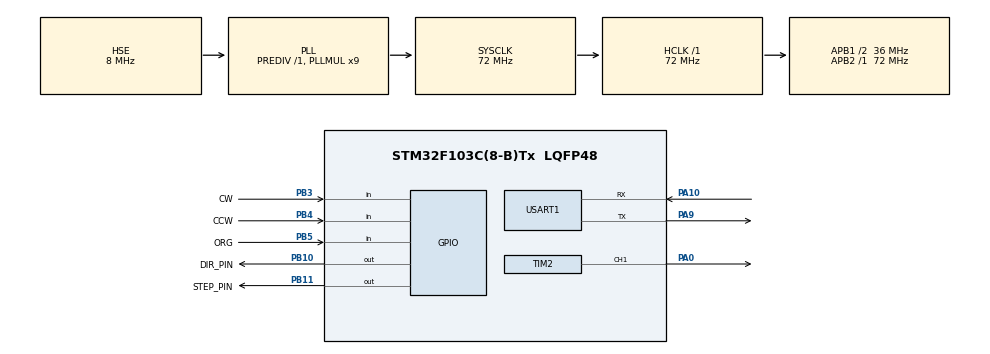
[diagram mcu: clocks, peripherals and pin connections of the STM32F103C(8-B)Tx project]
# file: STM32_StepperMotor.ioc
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Mcu.Family=STM32F1
Mcu.Name=STM32F103C(8-B)Tx
Mcu.Package=LQFP48
NVIC.PriorityGroup=NVIC_PRIORITYGROUP_4
NVIC.USART1_IRQn=true\:0\:0\:false\:false\:true\:true\:true\:true
PA0-WKUP.Signal=S_TIM2_CH1_ETR
PA10.Mode=Asynchronous
PA10.Signal=USART1_RX
PA13.Mode=Serial_Wire
PA13.Signal=SYS_JTMS-SWDIO
PA14.Mode=Serial_Wire
PA14.Signal=SYS_JTCK-SWCLK
PA9.Mode=Asynchronous
PA9.Signal=USART1_TX
PB10.GPIO_Label=DIR_PIN
PB10.GPIO_Speed=GPIO_SPEED_FREQ_HIGH
PB10.Signal=GPIO_Output
PB11.GPIO_Label=STEP_PIN
PB11.GPIO_Speed=GPIO_SPEED_FREQ_HIGH
PB11.Signal=GPIO_Output
PB3.GPIO_Label=CW
PB3.GPIO_PuPd=GPIO_PULLDOWN
PB3.Signal=GPIO_Input
PB4.GPIO_Label=CCW
PB4.GPIO_PuPd=GPIO_PULLDOWN
PB4.Signal=GPIO_Input
PB5.GPIO_Label=ORG
PB5.GPIO_PuPd=GPIO_PULLDOWN
PB5.Signal=GPIO_Input
PD0-OSC_IN.Mode=HSE-External-Oscillator
PD0-OSC_IN.Signal=RCC_OSC_IN
PD1-OSC_OUT.Mode=HSE-External-Oscillator
PD1-OSC_OUT.Signal=RCC_OSC_OUT
ProjectManager.HeapSize=0x200
ProjectManager.StackSize=0x400
ProjectManager.TargetToolchain=MDK-ARM V5.32
RCC.AHBFreq_Value=72000000
RCC.APB1CLKDivider=RCC_HCLK_DIV2
RCC.APB1Freq_Value=36000000
RCC.APB1TimFreq_Value=72000000
RCC.APB2Freq_Value=72000000
RCC.APB2TimFreq_Value=72000000
RCC.HCLKFreq_Value=72000000
RCC.PLLMUL=RCC_PLL_MUL9
RCC.PLLSourceVirtual=RCC_PLLSOURCE_HSE
RCC.SYSCLKFreq_VALUE=72000000
RCC.SYSCLKSource=RCC_SYSCLKSOURCE_PLLCLK
RCC.USBFreq_Value=72000000
SH.S_TIM2_CH1_ETR.0=TIM2_CH1,PWM Generation1 CH1
TIM2.AutoReloadPreload=TIM_AUTORELOAD_PRELOAD_ENABLE
TIM2.Channel-PWM\ Generation1\ CH1=TIM_CHANNEL_1
TIM2.Period=9999
TIM2.Prescaler=12-1
USART1.VirtualMode=VM_ASYNC
VP_TIM2_VS_ClockSourceINT.Mode=Internal
board=custom

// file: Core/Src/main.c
/* USER CODE BEGIN Header */
/**
  ******************************************************************************
  * @file           : main.c
  * @brief          : Main program body
  ******************************************************************************
  * @attention
  *
  * Copyright (c) 2026 STMicroelectronics
  *
  ******************************************************************************
  */
/* USER CODE END Header */
#include "main.h"
#include "tim.h"
#include "usart.h"
#include "gpio.h"

/* USER CODE BEGIN Includes */
#include "stepper.h"
#include <stdio.h>
#include <string.h>
/* USER CODE END Includes */

/* USER CODE BEGIN PD */
// Speed presets: half-period delay (smaller = faster)
#define DEFAULT_HALF_T_LOW   500
#define DEFAULT_HALF_T_MID   250
#define DEFAULT_HALF_T_HIGH  180

#define UART_BUF_SIZE 64

// Limit debounce filter count
#define LIMIT_FILTER_COUNT  3

// Limit pins (use CubeMX-generated names internally, A/B aliases for clarity)
#define LIMIT_A_PIN   CW_Pin
#define LIMIT_A_PORT  CW_GPIO_Port
#define LIMIT_B_PIN   CCW_Pin
#define LIMIT_B_PORT  CCW_GPIO_Port
#define LIMIT_ORG_PIN  ORG_Pin
#define LIMIT_ORG_PORT ORG_GPIO_Port
/* USER CODE END PD */

uint8_t  uart_buf[UART_BUF_SIZE];
uint16_t uart_buf_head = 0;
uint16_t uart_buf_tail = 0;

/* USER CODE BEGIN PV */
uint8_t  motor_speed = 1;          // 1=slow 2=mid 3=fast
uint8_t  motor_dir   = 0;          // 0=A dir, 1=B dir
uint32_t motor_steps = 0;          // Target step count
uint8_t  cmd_ready   = 0;          // Command ready flag
uint8_t  motor_busy  = 0;          // Motor is currently stepping

int32_t motor_position_steps = 0;  // Current position in steps (A+, B-)
uint8_t motor_stop_flag = 0;       // Emergency stop flag

// Direction locks: each direction locked independently
uint8_t limit_a_locked = 0;        // A-direction locked (A limit triggered)
uint8_t limit_b_locked = 0;        // B-direction locked (B limit triggered)

// Limit debounce state
uint8_t last_limit_a  = 0;
uint8_t last_limit_b  = 0;
uint8_t last_limit_org = 0;
uint8_t filter_a_cnt  = 0;
uint8_t filter_b_cnt  = 0;
uint8_t filter_org_cnt = 0;
/* USER CODE END PV */

void SystemClock_Config(void);
/* USER CODE BEGIN PFP */
void UART_Parse_Cmd(void);
void UART_PutChar(uint8_t ch);
void UART_PutString(char *str);
void Motor_Emergency_Stop(void);
void Limit_Switch_Check(void);
uint8_t Read_Limit_Stable(GPIO_TypeDef *GPIOx, uint16_t GPIO_Pin);
void System_Reset(void);
/* USER CODE END PFP */

int main(void)
{
  HAL_Init();
  SystemClock_Config();
  MX_GPIO_Init();
  MX_TIM2_Init();
  MX_USART1_UART_Init();
  Step_GPIO_Config();
  __HAL_UART_ENABLE_IT(&huart1, UART_IT_RXNE);

  HAL_Delay(100);
  last_limit_a   = 0;
  last_limit_b   = 0;
  last_limit_org = 0;
  motor_position_steps = 0;

  UART_PutString("\r\n========================================\r\n");
  UART_PutString(" Stepper Motor Control System V9\r\n");
  UART_PutString(" 6400 pulse/rev, 1mm lead\r\n");
  UART_PutString("========================================\r\n");
  UART_PutString(" Commands:\r\n");
  UART_PutString("  1) 3-digit: <Speed1-3><Dir0-1><Turn1-2>\r\n");
  UART_PutString("     0=A-dir  1=B-dir\r\n");
  UART_PutString("     ex: 201=Mid_A_Full  321=Fast_B_Half\r\n");
  UART_PutString("  2) Micron: A<dist> or B<dist>\r\n");
  UART_PutString("     ex: A100=A+100um  B1000=B+1000um\r\n");
  UART_PutString("  3) Reset: send R to clear locks\r\n");
  UART_PutString("  4) Query: send ? to show position\r\n");
  UART_PutString("========================================\r\n");
  UART_PutString("> ");

  while (1)
  {
    UART_Parse_Cmd();
    Limit_Switch_Check();
    HAL_Delay(10);

    if (cmd_ready)
    {
      // Direction lock: A-dir(0) blocked by A-limit, B-dir(1) blocked by B-limit
      if ((motor_dir == 0 && limit_a_locked) ||
          (motor_dir == 1 && limit_b_locked))
      {
        UART_PutString("Blocked: limit active, reverse dir only\r\n> ");
        cmd_ready = 0;
        continue;
      }

      motor_stop_flag = 0;
      motor_busy = 1;
      cmd_ready = 0;
      Set_Direction(motor_dir);

      uint32_t delay = DEFAULT_HALF_T_LOW;
      if (motor_speed == 2)      delay = DEFAULT_HALF_T_MID;
      else if (motor_speed == 3) delay = DEFAULT_HALF_T_HIGH;

      Step(motor_steps, delay);
      motor_busy = 0;

      if (!motor_stop_flag)
      {
        if (motor_dir == 0)
          motor_position_steps += (int32_t)motor_steps;
        else
          motor_position_steps -= (int32_t)motor_steps;
      }

      // Display current position (0.1um precision)
      int32_t pos_0p1um = STEPS_TO_0P1UM(motor_position_steps);
      char sign = '+';
      int32_t abs_val = pos_0p1um;
      if (abs_val < 0) { sign = '-'; abs_val = -abs_val; }

      char disp_buf[48];
      sprintf(disp_buf, "Done  Pos: %c%ld.%ld um\r\n> ",
              sign, (long)(abs_val / 10), (long)(abs_val % 10));
      UART_PutString(disp_buf);
    }
  }
}

void SystemClock_Config(void)
{
  RCC_OscInitTypeDef RCC_OscInitStruct = {0};
  RCC_ClkInitTypeDef RCC_ClkInitStruct = {0};

  RCC_OscInitStruct.OscillatorType = RCC_OSCILLATORTYPE_HSE;
  RCC_OscInitStruct.HSEState = RCC_HSE_ON;
  RCC_OscInitStruct.HSEPredivValue = RCC_HSE_PREDIV_DIV1;
  RCC_OscInitStruct.HSIState = RCC_HSI_ON;
  RCC_OscInitStruct.PLL.PLLState = RCC_PLL_ON;
  RCC_OscInitStruct.PLL.PLLSource = RCC_PLLSOURCE_HSE;
  RCC_OscInitStruct.PLL.PLLMUL = RCC_PLL_MUL9;
  if (HAL_RCC_OscConfig(&RCC_OscInitStruct) != HAL_OK)
  {
    Error_Handler();
  }

  RCC_ClkInitStruct.ClockType = RCC_CLOCKTYPE_HCLK | RCC_CLOCKTYPE_SYSCLK
                              | RCC_CLOCKTYPE_PCLK1 | RCC_CLOCKTYPE_PCLK2;
  RCC_ClkInitStruct.SYSCLKSource = RCC_SYSCLKSOURCE_PLLCLK;
  RCC_ClkInitStruct.AHBCLKDivider = RCC_SYSCLK_DIV1;
  RCC_ClkInitStruct.APB1CLKDivider = RCC_HCLK_DIV2;
  RCC_ClkInitStruct.APB2CLKDivider = RCC_HCLK_DIV1;

  if (HAL_RCC_ClockConfig(&RCC_ClkInitStruct, FLASH_LATENCY_2) != HAL_OK)
  {
    Error_Handler();
  }
}

/* USER CODE BEGIN 4 */

// Software reset: clear alarm state without clearing direction locks.
// Direction locks auto-clear when sensors release in Limit_Switch_Check().
void System_Reset(void)
{
  motor_stop_flag  = 0;
  // Keep limit_a_locked / limit_b_locked — they auto-clear on sensor release
  last_limit_a     = 0;
  last_limit_b     = 0;
  filter_a_cnt     = 0;
  filter_b_cnt     = 0;
  cmd_ready        = 0;
  UART_PutString("System: alarm reset, reverse dir available\r\n> ");
}

// Double-read for stable level (2ms interval debounce)
uint8_t Read_Limit_Stable(GPIO_TypeDef *GPIOx, uint16_t GPIO_Pin)
{
  uint8_t level1 = HAL_GPIO_ReadPin(GPIOx, GPIO_Pin);
  HAL_Delay(2);
  uint8_t level2 = HAL_GPIO_ReadPin(GPIOx, GPIO_Pin);
  return (level1 == level2) ? level1 : 0;
}

void UART_PutChar(uint8_t ch)
{
  HAL_UART_Transmit(&huart1, &ch, 1, 10);
}

void UART_PutString(char *str)
{
  if (str == NULL) return;
  uint16_t len = strlen(str);
  HAL_UART_Transmit(&huart1, (uint8_t *)str, len, 100);
}

// Parse micron digits after A/B prefix has been consumed.
// On entry, uart_buf_tail points to first digit.
static void parse_micron_value(uint8_t dir)
{
  uint16_t data_len = (uart_buf_head - uart_buf_tail + UART_BUF_SIZE) % UART_BUF_SIZE;
  if (data_len == 0) return;

  uint32_t value = 0;
  uint8_t  digit_count = 0;
  uint16_t idx = uart_buf_tail;

  while (idx != uart_buf_head && digit_count < 10)
  {
    uint8_t ch = uart_buf[idx];
    if (ch >= '0' && ch <= '9')
    {
      value = value * 10 + (ch - '0');
      digit_count++;
      idx = (idx + 1) % UART_BUF_SIZE;
    }
    else if (ch == '\r' || ch == '\n')
    {
      idx = (idx + 1) % UART_BUF_SIZE;
      break;
    }
    else
    {
      uart_buf_head = uart_buf_tail = 0;
      UART_PutString("Error: invalid command\r\n> ");
      return;
    }
  }

  if (digit_count > 0 && value > 0 && value <= 15000)
  {
    motor_speed = 2;  // micron commands default: mid speed
    motor_dir   = dir;
    motor_steps = UM_TO_STEPS(value);
    if (motor_steps == 0) motor_steps = 1;
    cmd_ready = 1;
    uart_buf_tail = idx;

    char info[64];
    sprintf(info, "%s move %lu um (%lu steps)\r\n",
            (dir == 0) ? "A" : "B",
            (unsigned long)value, (unsigned long)motor_steps);
    UART_PutString(info);
  }
  else
  {
    uart_buf_head = uart_buf_tail = 0;
    UART_PutString("Error: invalid distance (1~15000um)\r\n> ");
  }
}

// UART command parser: 3-digit / A/B micron / R reset / ? query
void UART_Parse_Cmd(void)
{
  uint16_t data_len = (uart_buf_head - uart_buf_tail + UART_BUF_SIZE) % UART_BUF_SIZE;
  if (data_len == 0) return;

  uint8_t cmd = uart_buf[uart_buf_tail];

  // Ignore CR/LF
  if (cmd == '\r' || cmd == '\n')
  {
    uart_buf_tail = (uart_buf_tail + 1) % UART_BUF_SIZE;
    return;
  }

  // ?: query position
  if (cmd == '?')
  {
    int32_t pos_0p1um = STEPS_TO_0P1UM(motor_position_steps);
    char sign = '+';
    int32_t abs_val = pos_0p1um;
    if (abs_val < 0) { sign = '-'; abs_val = -abs_val; }
    char buf[48];
    sprintf(buf, "Pos: %c%ld.%ld um\r\n> ",
            sign, (long)(abs_val / 10), (long)(abs_val % 10));
    UART_PutString(buf);
    uart_buf_tail = (uart_buf_tail + 1) % UART_BUF_SIZE;
    return;
  }

  // R/r standalone = reset
  if (cmd == 'R' || cmd == 'r')
  {
    uint16_t next_idx = (uart_buf_tail + 1) % UART_BUF_SIZE;

    // Only 'R' in buffer, wait for follow-up char
    if (next_idx == uart_buf_head)
      return;

    uint8_t next_ch = uart_buf[next_idx];

    // Standalone R with CR/LF or end-of-buffer -> reset
    if (next_ch == '\r' || next_ch == '\n')
    {
      System_Reset();
      uart_buf_tail = (uart_buf_tail + 1) % UART_BUF_SIZE;
      return;
    }

    // R followed by anything else -> error (B-micron uses 'B' prefix now)
    uart_buf_head = uart_buf_tail = 0;
    UART_PutString("Error: use 'B<dist>' for B-micron, 'R' alone for reset\r\n> ");
    return;
  }

  // A/a: A-direction micron command
  if (cmd == 'A' || cmd == 'a')
  {
    uart_buf_tail = (uart_buf_tail + 1) % UART_BUF_SIZE; // consume 'A'

    data_len = (uart_buf_head - uart_buf_tail + UART_BUF_SIZE) % UART_BUF_SIZE;
    if (data_len == 0) return;

    uint8_t first_digit = uart_buf[uart_buf_tail];
    if (!(first_digit >= '0' && first_digit <= '9'))
    {
      uart_buf_head = uart_buf_tail = 0;
      UART_PutString("Error: A requires a number, ex: A100\r\n> ");
      return;
    }
    parse_micron_value(0);  // dir=0 (A)
    return;
  }

  // B/b: B-direction micron command
  if (cmd == 'B' || cmd == 'b')
  {
    uart_buf_tail = (uart_buf_tail + 1) % UART_BUF_SIZE; // consume 'B'

    data_len = (uart_buf_head - uart_buf_tail + UART_BUF_SIZE) % UART_BUF_SIZE;
    if (data_len == 0) return;

    uint8_t first_digit = uart_buf[uart_buf_tail];
    if (!(first_digit >= '0' && first_digit <= '9'))
    {
      uart_buf_head = uart_buf_tail = 0;
      UART_PutString("Error: B requires a number, ex: B1000\r\n> ");
      return;
    }
    parse_micron_value(1);  // dir=1 (B)
    return;
  }

  // 3-digit command: <Speed1-3><Dir0-1><Turn1-2>
  if (data_len >= 3)
  {
    uint8_t s = uart_buf[uart_buf_tail];
    uint8_t d = uart_buf[(uart_buf_tail + 1) % UART_BUF_SIZE];
    uint8_t c = uart_buf[(uart_buf_tail + 2) % UART_BUF_SIZE];

    if ((s >= '1' && s <= '3') &&
        (d >= '0' && d <= '1') &&
        (c >= '1' && c <= '2'))
    {
      motor_speed = s - '0';
      motor_dir   = d - '0';
      motor_steps = (c == '1') ? STEPS_PER_CIRCLE : STEPS_PER_HALF_CIRCLE;
      cmd_ready = 1;
      uart_buf_tail = (uart_buf_tail + 3) % UART_BUF_SIZE;

      char info[64];
      sprintf(info, "%s %s %s turn (%lu steps)\r\n",
              (motor_speed == 1) ? "Slow" : (motor_speed == 2) ? "Mid" : "Fast",
              (motor_dir == 0) ? "A" : "B",
              (motor_steps == STEPS_PER_CIRCLE) ? "Full" : "Half",
              (unsigned long)motor_steps);
      UART_PutString(info);
    }
    else
    {
      uart_buf_head = uart_buf_tail = 0;
      UART_PutString("Error: invalid command\r\n> ");
    }
  }
}

void Alarm_Info(char *str)
{
  UART_PutString("ALARM: ");
  UART_PutString(str);
  UART_PutString("\r\n> ");
}

// Emergency stop: pull STEP low, set flag. Direction lock set by caller.
void Motor_Emergency_Stop(void)
{
  HAL_GPIO_WritePin(STEP_GPIO_PORT, STEP_GPIO_PIN, GPIO_PIN_RESET);
  motor_stop_flag = 1;
}

/*
 * Limit switch state machine (debounced, called every 10ms).
 *
 * A-limit (was CW): triggers -> lock A-dir -> stop motor -> alarm
 * B-limit (was CCW): triggers -> lock B-dir -> stop motor -> alarm
 * Origin: info only, no stop, no lock.
 *
 * Direction lock auto-clears when sensor releases (after debounce).
 * Opposite direction always available without needing R.
 * R is only needed if both limits are stuck or for software recovery.
 */
void Limit_Switch_Check(void)
{
  uint8_t a_now   = Read_Limit_Stable(LIMIT_A_PORT, LIMIT_A_PIN);
  uint8_t b_now   = Read_Limit_Stable(LIMIT_B_PORT, LIMIT_B_PIN);
  uint8_t org_now = Read_Limit_Stable(LIMIT_ORG_PORT, LIMIT_ORG_PIN);

  // === A-limit (was CW) ===
  if (a_now == 1 && !limit_a_locked)
  {
    filter_a_cnt++;
    if (filter_a_cnt >= LIMIT_FILTER_COUNT && last_limit_a == 0)
    {
      last_limit_a = 1;
      limit_a_locked = 1;
      Motor_Emergency_Stop();
      Alarm_Info("A-limit triggered, reverse dir (B) available");
    }
  }
  else if (a_now == 0)
  {
    filter_a_cnt = 0;
    last_limit_a = 0;
    limit_a_locked = 0;  // auto-clear when sensor releases
  }

  // === B-limit (was CCW) ===
  if (b_now == 1 && !limit_b_locked)
  {
    filter_b_cnt++;
    if (filter_b_cnt >= LIMIT_FILTER_COUNT && last_limit_b == 0)
    {
      last_limit_b = 1;
      limit_b_locked = 1;
      Motor_Emergency_Stop();
      Alarm_Info("B-limit triggered, reverse dir (A) available");
    }
  }
  else if (b_now == 0)
  {
    filter_b_cnt = 0;
    last_limit_b = 0;
    limit_b_locked = 0;  // auto-clear when sensor releases
  }

  // === Origin: info only, no stop, no lock ===
  if (org_now == 1)
  {
    filter_org_cnt++;
    if (filter_org_cnt >= LIMIT_FILTER_COUNT && last_limit_org == 0)
    {
      last_limit_org = 1;
      if (!motor_busy)
      {
        motor_position_steps = 0;
      }
      UART_PutString("Info: origin reached");
      if (!motor_busy)
      {
        UART_PutString(", position reset to 0");
      }
      else
      {
        UART_PutString(" (motor busy, position unchanged)");
      }
      UART_PutString("\r\n> ");
    }
  }
  else
  {
    filter_org_cnt = 0;
    last_limit_org = 0;
  }
}

/* USER CODE END 4 */

void Error_Handler(void)
{
  __disable_irq();
  while (1) {}
}
